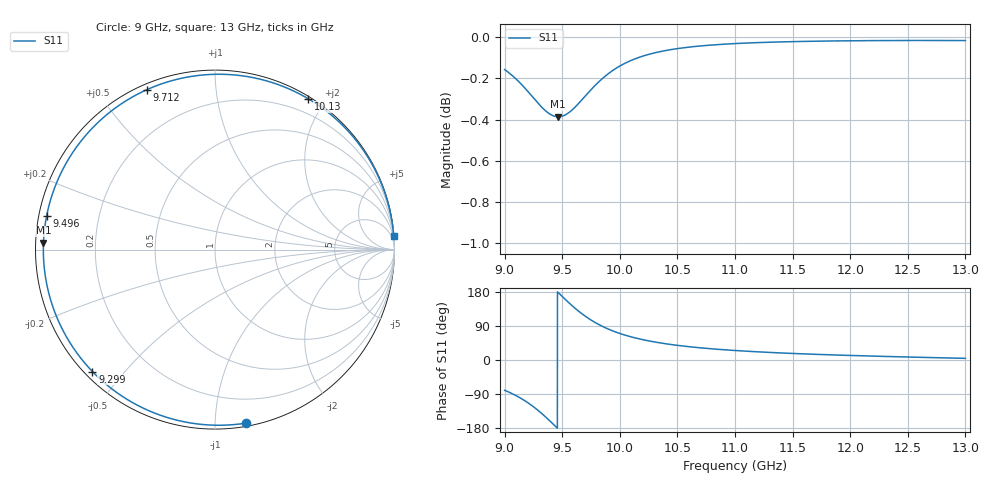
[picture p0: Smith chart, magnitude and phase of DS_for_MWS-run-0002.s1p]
! TOUCHSTONE file generated by CST DESIGN STUDIO
! Date and time: Tue Feb  4 13:23:50 2025
! Project name: C:\Work\MatlabApps\UnitCellOptimizationMatlab\CST\unitcell.cst
! Tree item: Tasks\Sweep1\SPara1\S-Parameters
! Header version: 2024
! Port assignment regex: !\s*Touchstone port\s*([0-9]+)\s*=\s*(CST MWS port|CST DES external port|CST DES block port)\s*(.+)\s* \(\"(.*)\"\)(\s*mode\s*([0-9]+))?.*
! Touchstone port assignment:
! Touchstone port 1 = CST DES external port 1 ("")
# GHz S MA R 50
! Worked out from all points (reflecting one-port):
!   4001 points, 9 GHz to 13 GHz, reference 50 ohm
!   lowest |S11| = -0.4 dB at 9.466 GHz (marker M1), VSWR 45.00, Z = 1.11 + j0.997 ohm
!   phase of S11 starts at -80 deg and turns -276 deg over the sweep
!   S11 on the Smith chart (normalised r, x): 9 GHz: 0.02, -1.19; 9.299 GHz: 0.02, -0.41; 9.496 GHz: 0.02, +0.10; 9.712 GHz: 0.02, +0.66; 10.13 GHz: 0.03, +1.79; 13 GHz: 1, +26
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9  0.9821 -79.9
9.073  0.9785 -89.9
9.169  0.9725 -106.2
9.236  0.9677 -120.1
9.299  0.9632 -135.1
9.343  0.9604 -146.7
9.389  0.9581 -159.6
9.428  0.9569 -171.0
9.466  0.9565 177.7
9.496  0.9568 168.8
9.5  0.9568 167.7
9.551  0.9584 152.9
9.609  0.9615 137.2
9.66  0.9649 124.6
9.712  0.9685 113.1
9.769  0.9724 101.9
9.832  0.9763 91.3
9.914  0.9805 79.8
10  0.9841 70.0
10.134  0.9881 58.3
10.299  0.9913 47.7
10.5  0.9937 38.7
10.722  0.9953 31.5
11  0.9965 25.0
11.5  0.9976 17.3
12  0.9981 12.0
12.5  0.9983 7.9
13  0.9982 4.3
